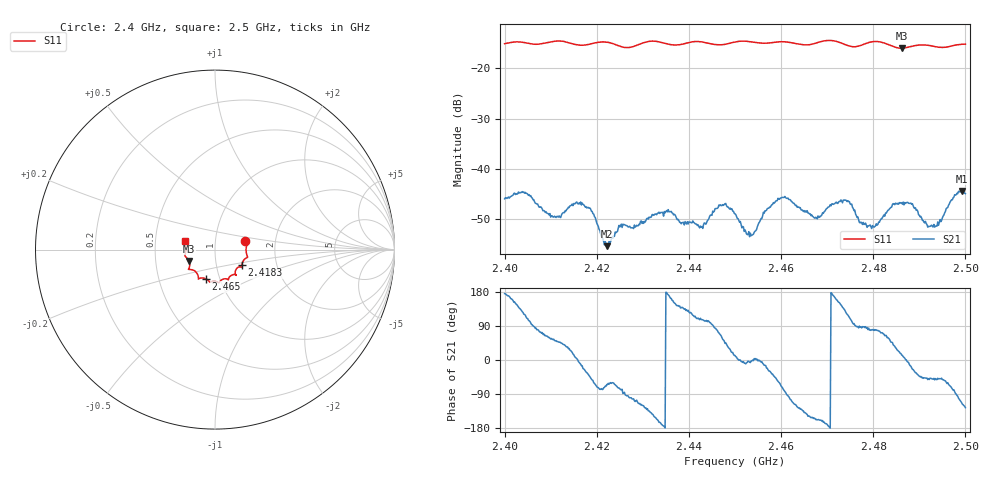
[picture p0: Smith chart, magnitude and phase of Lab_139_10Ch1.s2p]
# Hz S RI R 50
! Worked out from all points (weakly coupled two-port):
!   601 points, 2.4 GHz to 2.5 GHz, reference 50 ohm
!   highest |S21| = -44.35 dB at 2.4993 GHz (marker M1); lowest = -55.3 dB at 2.4222 GHz (marker M2)
!   lowest |S11| = -16.0 dB at 2.4862 GHz (marker M3), VSWR 1.38, Z = 37.1 - j4.81 ohm
!   |S11| at or under -10 dB: start of sweep to end of sweep
!   S12 and S22 are empty: the file has one direction only
!   S11 on the Smith chart (normalised r, x): 2.4 GHz: 1.40, +0.13; 2.4183 GHz: 1.33, -0.24; 2.465 GHz: 0.86, -0.29; 2.5 GHz: 0.71, +0.07
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2.4e9  0.169 0.0458  -0.00504 0.000424  0 0  0 0
2.404333e9  0.1779 0.0248  -0.00288 0.00498  0 0  0 0
2.411e9  0.1813 -0.0394  0.00212 0.00257  0 0  0 0
2.416667e9  0.1548 -0.0681  0.00424 -0.00113  0 0  0 0
2.418333e9  0.1498 -0.0867  0.00307 -0.00269  0 0  0 0
2.422167e9  0.1521 -0.0997  0.000729 -0.00155  0 0  0 0
2.425333e9  0.1311 -0.0976  0.000573 -0.00277  0 0  0 0
2.433333e9  0.1168 -0.1414  -0.00343 -0.00125  0 0  0 0
2.4425e9  0.073 -0.1679  -0.000932 0.00255  0 0  0 0
2.447e9  0.0436 -0.1653  0.00192 0.00388  0 0  0 0
2.45e9  0.0252 -0.1807  0.00351 0.000732  0 0  0 0
2.453667e9  0.0158 -0.1819  0.0022 -8.89e-05  0 0  0 0
2.459833e9  -0.0273 -0.1813  0.00227 -0.00461  0 0  0 0
2.465e9  -0.0527 -0.1623  -0.0029 -0.00256  0 0  0 0
2.466667e9  -0.0713 -0.1577  -0.00307 -0.00169  0 0  0 0
2.474e9  -0.0956 -0.1419  -0.00295 0.00391  0 0  0 0
2.48e9  -0.147 -0.1106  0.000527 0.00263  0 0  0 0
2.483333e9  -0.1421 -0.096  0.00211 0.0033  0 0  0 0
2.486167e9  -0.1448 -0.0633  0.00449 0.00103  0 0  0 0
2.493333e9  -0.1633 -0.0161  0.00162 -0.0021  0 0  0 0
2.499333e9  -0.1676 0.044  -0.00269 -0.00543  0 0  0 0
2.5e9  -0.1669 0.047  -0.00333 -0.00462  0 0  0 0
